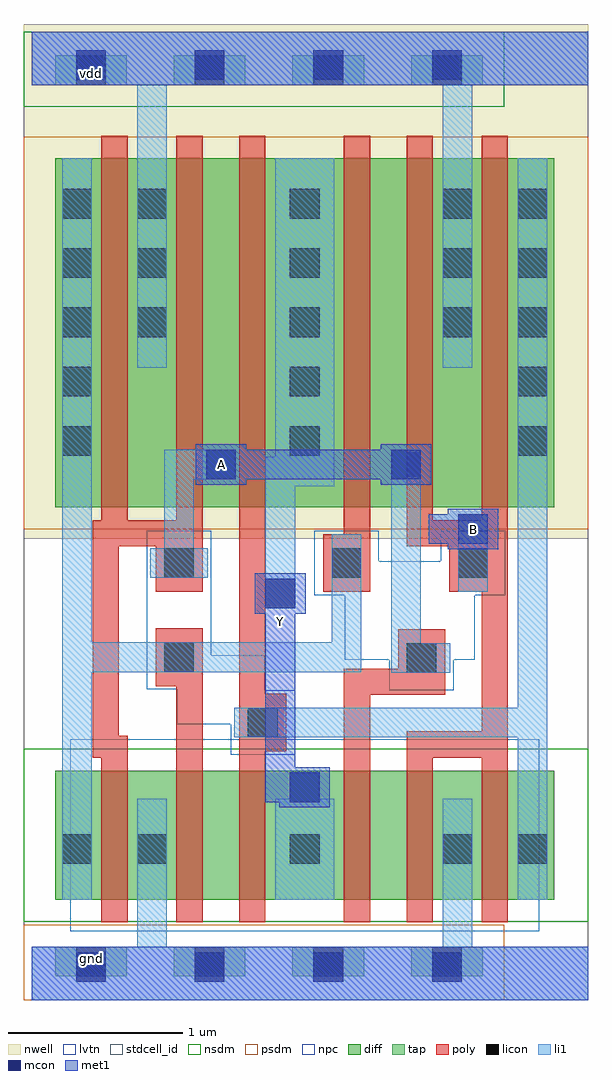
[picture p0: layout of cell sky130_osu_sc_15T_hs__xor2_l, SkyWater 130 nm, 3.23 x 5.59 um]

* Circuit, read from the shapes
.subckt sky130_osu_sc_15T_hs__xor2_l A B Y gnd vdd
XM1 gnd A n1 gnd sky130_fd_pr__nfet_01v8_lvt w=0.74 l=0.15
XM2 n2 n1 gnd gnd sky130_fd_pr__nfet_01v8_lvt w=0.74 l=0.15
XM3 Y n3 n2 gnd sky130_fd_pr__nfet_01v8_lvt w=0.74 l=0.15
XM4 n4 A Y gnd sky130_fd_pr__nfet_01v8_lvt w=0.74 l=0.15
XM5 gnd B n4 gnd sky130_fd_pr__nfet_01v8_lvt w=0.74 l=0.15
XM6 n3 B gnd gnd sky130_fd_pr__nfet_01v8_lvt w=0.74 l=0.15
XM7 vdd A n1 vdd sky130_fd_pr__pfet_01v8 w=2 l=0.15
XM8 n5 A vdd vdd sky130_fd_pr__pfet_01v8 w=2 l=0.15
XM9 Y n3 n5 vdd sky130_fd_pr__pfet_01v8 w=2 l=0.15
XM10 n6 n1 Y vdd sky130_fd_pr__pfet_01v8 w=2 l=0.15
XM11 vdd B n6 vdd sky130_fd_pr__pfet_01v8 w=2 l=0.15
XM12 n3 B vdd vdd sky130_fd_pr__pfet_01v8 w=2 l=0.15
.ends

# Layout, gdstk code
import gdstk
lib = gdstk.Library(unit=1e-6, precision=1e-09)
def R(c, l, rs):  # rectangles x0, y0, x1, y1
    for r in rs: c.add(gdstk.rectangle(r[:2], r[2:], *l))
def A(c, l, x, y, w, h, nx, ny, dx, dy):  # array of equal rectangles
    R(c, l, [(x+i*dx, y+j*dy, x+i*dx+w, y+j*dy+h) for i in range(nx) for j in range(ny)])
nwell = (64, 20)
diff = (65, 20)
tap = (65, 44)
poly = (66, 20)
licon = (66, 44)
li1 = (67, 20)
mcon = (67, 44)
met1 = (68, 20)
stdcell_id = (81, 4)
nsdm = (93, 44)
psdm = (94, 20)
npc = (95, 20)
lvtn = (125, 44)

sky130_osu_sc_15t_hs__xo = lib.new_cell('sky130_osu_sc_15T_hs__xor2_l')
R(sky130_osu_sc_15t_hs__xo, nwell, [(-0.045,2.645,3.19,5.595)])
R(sky130_osu_sc_15t_hs__xo, diff, [(0.135,0.575,2.995,1.315), (0.135,2.825,2.995,4.825)])
A(sky130_osu_sc_15t_hs__xo, tap, 0.135, 0.135, 0.41, 0.17, 4, 2, 0.68, 5.11)
R(sky130_osu_sc_15t_hs__xo, poly, [(0.4,0.445,0.55,1.39), (0.83,0.445,0.98,1.8), (1.19,0.445,1.34,1.425), (1.79,0.445,1.94,1.75), (2.15,0.445,2.3,1.39), (2.58,0.445,2.73,1.39), (0.35,1.39,0.55,1.515), (2.15,1.39,2.73,1.54), (1.19,1.425,1.46,1.755), (0.35,1.515,0.5,2.6), (2.58,1.54,2.73,2.34), (1.79,1.75,2.37,1.9), (1.19,1.755,1.34,4.955), (0.71,1.8,0.98,2.13), (2.1,1.9,2.37,2.125), (0.71,2.34,0.98,2.6), (1.67,2.34,1.94,2.67), (2.395,2.34,2.73,2.6), (0.35,2.6,0.98,2.75), (2.15,2.6,2.73,2.75), (1.79,2.67,1.94,4.955), (0.4,2.75,0.55,4.955), (0.83,2.75,0.98,4.955), (2.15,2.75,2.3,4.955), (2.58,2.75,2.73,4.955)])
A(sky130_osu_sc_15t_hs__xo, licon, 0.255, 0.135, 0.17, 0.17, 4, 2, 0.68, 5.11)
A(sky130_osu_sc_15t_hs__xo, licon, 0.605, 0.78, 0.17, 0.17, 3, 2, 0.875, 3.02)
A(sky130_osu_sc_15t_hs__xo, licon, 0.175, 3.12, 0.17, 0.17, 3, 2, 1.305, 0.34)
A(sky130_osu_sc_15t_hs__xo, licon, 0.175, 3.8, 0.17, 0.17, 1, 3, 0, 0.34)
A(sky130_osu_sc_15t_hs__xo, licon, 2.785, 3.8, 0.17, 0.17, 1, 3, 0, 0.34)
A(sky130_osu_sc_15t_hs__xo, licon, 0.605, 4.14, 0.17, 0.17, 3, 2, 0.875, 0.34)
R(sky130_osu_sc_15t_hs__xo, licon, [(0.175,0.78,0.345,0.95), (2.785,0.78,2.955,0.95), (1.24,1.505,1.41,1.675), (2.15,1.875,2.32,2.045), (0.76,1.88,0.93,2.05), (0.76,2.42,0.93,2.59), (1.72,2.42,1.89,2.59), (2.445,2.42,2.615,2.59)])
R(sky130_osu_sc_15t_hs__xo, li1, [(0,0,3.19,0.305), (0.605,0.305,0.775,1.155), (2.355,0.305,2.525,1.155), (0.175,0.575,0.345,1.88), (1.395,0.575,1.735,1.155), (2.785,0.575,2.955,1.505), (1.48,1.155,1.65,1.305), (1.16,1.505,2.955,1.675), (2.785,1.675,2.955,4.825), (2.06,1.875,2.4,2.045), (0.175,1.88,1.89,2.05), (2.06,2.045,2.23,3.155), (0.175,2.05,0.345,4.825), (1.72,2.05,1.89,2.67), (1.34,2.245,1.51,2.945), (2.445,2.34,2.615,2.785), (0.68,2.42,1.01,2.59), (0.76,2.59,0.93,2.985), (1.34,2.945,1.735,3.115), (0.76,2.985,1.17,3.155), (1.395,3.115,1.735,4.825), (0.605,3.625,0.775,5.245), (2.355,3.625,2.525,5.245), (0,5.245,3.19,5.55)])
A(sky130_osu_sc_15t_hs__xo, mcon, 0.255, 0.105, 0.17, 0.17, 4, 2, 0.68, 5.17)
R(sky130_osu_sc_15t_hs__xo, mcon, [(1.48,1.135,1.65,1.305), (1.34,2.245,1.51,2.415), (2.445,2.615,2.615,2.785), (1,2.985,1.17,3.155), (2.06,2.985,2.23,3.155)])
R(sky130_osu_sc_15t_hs__xo, met1, [(0,0,3.19,0.305), (1.42,1.105,1.71,1.135), (1.34,1.135,1.71,1.335), (1.34,1.335,1.51,2.215), (1.28,2.215,1.57,2.445), (2.385,2.585,2.675,2.615), (2.275,2.615,2.675,2.785), (2.385,2.785,2.675,2.815), (0.94,2.955,1.23,2.985), (2,2.955,2.29,2.985), (0.94,2.985,2.29,3.155), (0.94,3.155,1.23,3.185), (2,3.155,2.29,3.185), (0,5.245,3.19,5.55)])
R(sky130_osu_sc_15t_hs__xo, stdcell_id, [(-0.045,0,3.19,5.55)])
R(sky130_osu_sc_15t_hs__xo, nsdm, [(-0.045,0.45,3.19,1.44), (-0.045,5.12,2.71,5.55)])
R(sky130_osu_sc_15t_hs__xo, psdm, [(-0.045,0,2.71,0.43), (-0.045,2.7,3.19,4.95)])
R(sky130_osu_sc_15t_hs__xo, npc, [(1.14,1.405,1.51,1.58), (0.835,1.58,1.51,1.775), (0.835,1.775,1.335,1.78), (2.05,1.775,2.42,1.95), (0.66,1.78,1.335,1.975), (1.795,1.95,2.54,2.32), (0.66,1.975,1.03,2.69), (1.62,2.32,2.715,2.515), (1.62,2.515,1.99,2.69), (2.345,2.515,2.715,2.69)])
R(sky130_osu_sc_15t_hs__xo, lvtn, [(0.22,0.395,2.91,1.495)])
sky130_osu_sc_15t_hs__xo.add(gdstk.Label('gnd', (0.34,0.24), layer=68, texttype=16))
sky130_osu_sc_15t_hs__xo.add(gdstk.Label('vdd', (0.34,5.31), layer=68, texttype=16))
sky130_osu_sc_15t_hs__xo.add(gdstk.Label('A', (1.09,3.07), layer=68, texttype=5))
sky130_osu_sc_15t_hs__xo.add(gdstk.Label('Y', (1.425,2.17), layer=68, texttype=5))
sky130_osu_sc_15t_hs__xo.add(gdstk.Label('B', (2.53,2.7), layer=68, texttype=5))

lib.write_gds('sky130_osu_sc_15T_hs__xor2_l.gds')
